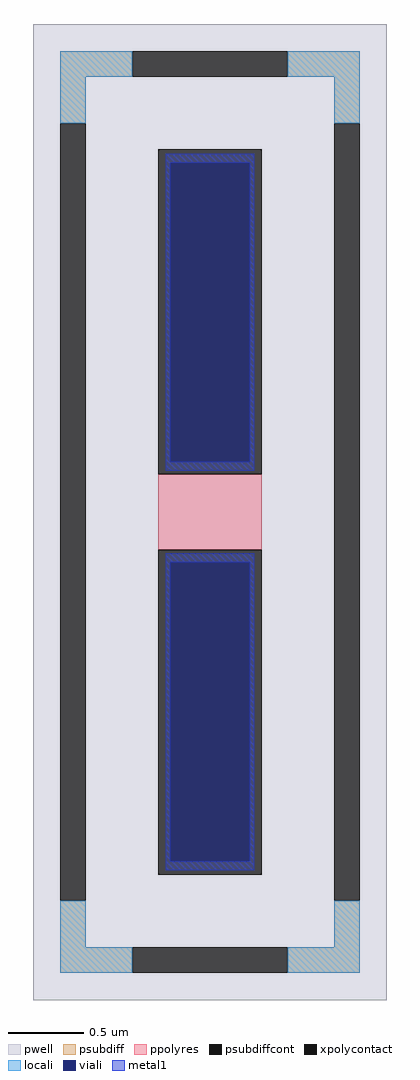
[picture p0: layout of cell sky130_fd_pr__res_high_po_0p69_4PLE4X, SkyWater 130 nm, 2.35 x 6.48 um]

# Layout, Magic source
magic
tech sky130A
magscale 1 2
<< pwell >>
rect -235 -648 235 648
<< psubdiff >>
rect -199 578 -103 612
rect 103 578 199 612
rect -199 516 -165 578
rect 165 516 199 578
rect -199 -578 -165 -516
rect 165 -578 199 -516
rect -199 -612 -103 -578
rect 103 -612 199 -578
<< psubdiffcont >>
rect -103 578 103 612
rect -199 -516 -165 516
rect 165 -516 199 516
rect -103 -612 103 -578
<< xpolycontact >>
rect -69 50 69 482
rect -69 -482 69 -50
<< ppolyres >>
rect -69 -50 69 50
<< locali >>
rect -199 578 -103 612
rect 103 578 199 612
rect -199 516 -165 578
rect 165 516 199 578
rect -199 -578 -165 -516
rect 165 -578 199 -516
rect -199 -612 -103 -578
rect 103 -612 199 -578
<< viali >>
rect -53 67 53 464
rect -53 -464 53 -67
<< metal1 >>
rect -59 464 59 476
rect -59 67 -53 464
rect 53 67 59 464
rect -59 55 59 67
rect -59 -67 59 -55
rect -59 -464 -53 -67
rect 53 -464 59 -67
rect -59 -476 59 -464
<< properties >>
string FIXED_BBOX -182 -595 182 595
string gencell sky130_fd_pr__res_high_po_0p69
string library sky130
string parameters w 0.690 l 0.50 m 1 nx 1 wmin 0.690 lmin 0.50 rho 319.8 val 1.57k dummy 0 dw 0.0 term 194.82 sterm 0.0 caplen 0 guard 1 glc 1 grc 1 gtc 1 gbc 1 compatible {sky130_fd_pr__res_high_po_0p35  sky130_fd_pr__res_high_po_0p69 sky130_fd_pr__res_high_po_1p41  sky130_fd_pr__res_high_po_2p85 sky130_fd_pr__res_high_po_5p73} snake 0 full_metal 1 wmax 0.690 n_guard 0 hv_guard 0 vias 1 viagb 0 viagt 0 viagl 0 viagr 0
<< end >>
